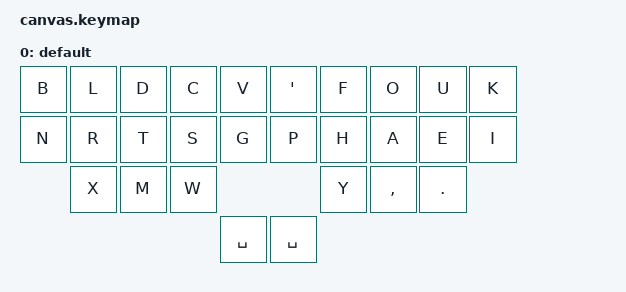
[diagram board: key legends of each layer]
#include <behaviors.dtsi>
#include <dt-bindings/zmk/keys.h>

/ {
    keymap {
        compatible = "zmk,keymap";

        default {
            bindings = <
                &kp B   &kp L   &kp D   &kp C   &kp V       &kp SQT  &kp F   &kp O       &kp U    &kp K
                &kp N   &kp R   &kp T   &kp S   &kp G       &kp P    &kp H   &kp A       &kp E    &kp I
                        &kp X   &kp M   &kp W                        &kp Y   &kp COMMA   &kp DOT
                                                &kp SPACE   &kp SPACE
            >;
        };
    };
};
